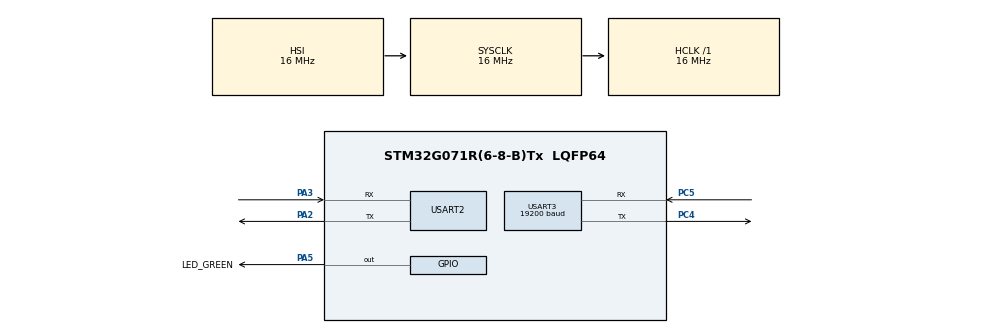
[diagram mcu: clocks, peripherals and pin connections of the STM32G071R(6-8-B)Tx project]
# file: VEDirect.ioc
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Dma.Request0=USART3_RX
Dma.USART3_RX.0.Direction=DMA_PERIPH_TO_MEMORY
Dma.USART3_RX.0.EventEnable=DISABLE
Dma.USART3_RX.0.Instance=DMA1_Channel1
Dma.USART3_RX.0.MemDataAlignment=DMA_MDATAALIGN_BYTE
Dma.USART3_RX.0.MemInc=DMA_MINC_ENABLE
Dma.USART3_RX.0.Mode=DMA_NORMAL
Dma.USART3_RX.0.PeriphDataAlignment=DMA_PDATAALIGN_BYTE
Dma.USART3_RX.0.PeriphInc=DMA_PINC_DISABLE
Dma.USART3_RX.0.Polarity=HAL_DMAMUX_REQ_GEN_RISING
Dma.USART3_RX.0.Priority=DMA_PRIORITY_MEDIUM
Dma.USART3_RX.0.RequestNumber=1
Dma.USART3_RX.0.SignalID=NONE
Dma.USART3_RX.0.SyncEnable=DISABLE
Dma.USART3_RX.0.SyncPolarity=HAL_DMAMUX_SYNC_NO_EVENT
Dma.USART3_RX.0.SyncRequestNumber=1
Dma.USART3_RX.0.SyncSignalID=NONE
Mcu.Family=STM32G0
Mcu.Name=STM32G071R(6-8-B)Tx
Mcu.Package=LQFP64
NVIC.DMA1_Channel1_IRQn=true\:2\:0\:true\:false\:true\:false\:true\:true
NVIC.USART3_4_LPUART1_IRQn=true\:2\:0\:true\:false\:true\:true\:true\:true
PA13.GPIO_Label=TMS
PA13.Mode=Serial_Wire
PA13.Signal=SYS_SWDIO
PA14-BOOT0.GPIO_Label=TCK
PA14-BOOT0.Mode=Serial_Wire
PA14-BOOT0.Signal=SYS_SWCLK
PA2.Mode=Asynchronous
PA2.Signal=USART2_TX
PA3.Mode=Asynchronous
PA3.Signal=USART2_RX
PA5.GPIO_Label=LED_GREEN
PA5.GPIO_Speed=GPIO_SPEED_FREQ_HIGH
PA5.Signal=GPIO_Output
PC13.Mode=SYS_WakeUp1
PC13.Signal=SYS_WKUP2
PC14-OSC32_IN\ (PC14).Mode=LSE-External-Oscillator
PC14-OSC32_IN\ (PC14).Signal=RCC_OSC32_IN
PC15-OSC32_OUT\ (PC15).Mode=LSE-External-Oscillator
PC15-OSC32_OUT\ (PC15).Signal=RCC_OSC32_OUT
PC4.Mode=Asynchronous
PC4.Signal=USART3_TX
PC5.Mode=Asynchronous
PC5.Signal=USART3_RX
PF0-OSC_IN\ (PF0).GPIO_Label=MCO
PF0-OSC_IN\ (PF0).Mode=HSE-External-Clock-Source
PF0-OSC_IN\ (PF0).Signal=RCC_OSC_IN
ProjectManager.HeapSize=0x200
ProjectManager.StackSize=0x400
ProjectManager.TargetToolchain=STM32CubeIDE
RCC.AHBFreq_Value=16000000
RCC.CortexFreq_Value=16000000
RCC.EXTERNAL_CLOCK_VALUE=12288000
RCC.HCLKFreq_Value=16000000
RCC.HSE_VALUE=8000000
RCC.HSI_VALUE=16000000
RCC.PLLQ=RCC_PLLQ_DIV4
RCC.SYSCLKFreq_VALUE=16000000
RCC.VCOOutputFreq_Value=128000000
TIM1.Prescaler=15
USART2.VirtualMode-Asynchronous=VM_ASYNC
USART3.BaudRate=19200
USART3.VirtualMode-Asynchronous=VM_ASYNC
VP_TIM1_VS_ClockSourceINT.Mode=Internal
board=NUCLEO-G071RB

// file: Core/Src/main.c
/* USER CODE BEGIN Header */
/**
  ******************************************************************************
  * @file           : main.c
  * @brief          : Main program body
  ******************************************************************************
  * @attention
  *
  * Copyright (c) 2024 STMicroelectronics.
  * All rights reserved.
  *
  * This software is licensed under terms that can be found in the LICENSE file
  * in the root directory of this software component.
  * If no LICENSE file comes with this software, it is provided AS-IS.
  *
  ******************************************************************************
  */
/* USER CODE END Header */
#include "main.h"
#include "dma.h"
#include "tim.h"
#include "usart.h"
#include "gpio.h"

/* USER CODE BEGIN Includes */
#include <uart_handler.h>
#include <stdio.h>
#include <ve_direct.h>
#include "SEGGER_RTT.h"
/* USER CODE END Includes */

/* USER CODE BEGIN PV */
uint8_t rx_buffer_1[BUFFER_SIZE];
uint8_t rx_buffer_2[BUFFER_SIZE];
char test_buffer[BUFFER_SIZE] = "\r\nPID\t0xA241\r\nFW\t0126\r\nSER#\tHQ2311PZ2NR\r\nMODE\t2\r\nCS\t9\r\nAC_OUT_V\t22998\r\nAC_OUT_I\t0\r\nAC_OUT_S\t8\r\nV\t11877\r\nAR\t0\r\nWARN\t0\r\nOR\t0x00000000\r\nChecksum\t\xF3";
extern ve_direct_data_t g_ve_direct_channels[VE_DIRECT_CH_MAX];
volatile uint8_t checksum;

ProtocolRxBuff protocol_rx_buff = {
    .p_rx_buff_user = rx_buffer_1,
    .p_rx_buff_reception = rx_buffer_2,
    .new_data_sz = 0
};

VEDIRECT_RX_State rx_state = VEDIRECT_RX_State_IDLE;
ve_direct_data_state_t data_state = CHECKSUM_FAIL;
/* USER CODE END PV */

void SystemClock_Config(void);
/* USER CODE BEGIN PFP */
uint8_t UART_Receive(void);
void process_frame(void);
void reset_frame_data(void);
/* USER CODE END PFP */

/* USER CODE BEGIN 0 */
extern UART_HandleTypeDef huart3;

#ifdef __GNUC__
/* With GCC/RAISONANCE, small printf (option LD Linker->Libraries->Small printf
   set to 'Yes') calls __io_putchar() */
#define PUTCHAR_PROTOTYPE int __io_putchar(int ch)
#else
#define PUTCHAR_PROTOTYPE int fputc(int ch, FILE *f)
#endif /* __GNUC__ */

/**
  * @brief  Retargets the C library printf function to the USART.
  * @param  None
  * @retval None
  */
PUTCHAR_PROTOTYPE
{

  SEGGER_RTT_printf(0, "%c", ch);

  return ch;
}
#include "tim.h"

/* USER CODE END 0 */

int main(void)
{

  /* USER CODE BEGIN 1 */
	checksum = 0;
	  uint32_t start_time, end_time, elapsed_time;
  /* USER CODE END 1 */

  /* MCU Configuration--------------------------------------------------------*/

  /* Reset of all peripherals, Initializes the Flash interface and the Systick. */
  HAL_Init();

  /* Configure the system clock */
  SystemClock_Config();

  /* Initialize all configured peripherals */
  MX_GPIO_Init();
  MX_DMA_Init();
  MX_USART3_UART_Init();
  MX_USART2_UART_Init();
  MX_TIM1_Init();
  /* USER CODE BEGIN 2 */
  __HAL_UART_CLEAR_FLAG(&huart3, UART_FLAG_IDLE);
  HAL_StatusTypeDef status = HAL_UARTEx_ReceiveToIdle_DMA(&huart3, protocol_rx_buff.p_rx_buff_reception, BUFFER_SIZE);
 // __HAL_DMA_DISABLE_IT(huart3.hdmarx, DMA_IT_HT);
  SEGGER_RTT_ConfigUpBuffer  (0,  NULL  ,  NULL  , 0,  SEGGER_RTT_MODE_NO_BLOCK_SKIP  );
  SEGGER_RTT_Init();
  HAL_TIM_Base_Start(&htim1);
  /* USER CODE END 2 */

  /* Infinite loop */
  /* USER CODE BEGIN WHILE */
  while (1)
  {
	  /*start_time = __HAL_TIM_GET_COUNTER(&htim1);
    parse_frame(test_buffer);
    parse_vedirect_data(&ve_data, &g_ve_direct_channels);
    end_time = __HAL_TIM_GET_COUNTER(&htim1);

    int a = 0;
    if (end_time >= start_time)
    {
        elapsed_time = end_time - start_time;
    }
    else
    {
        // Handle timer overflow if it occurs
        elapsed_time = (0xFFFF - start_time) + end_time;
    }

    a++;*/

	  if(vedirect_rx_get_state() == VEDIRECT_RX_State_DATA_READY){

		  //calculate checksum of the whole frame
      checksum = calculate_checksum(protocol_rx_buff.p_rx_buff_user, protocol_rx_buff.new_data_sz);

    if(checksum == 0){
      data_set_state(&g_ve_direct_channels, CHECKSUM_OK);

      parse_frame(protocol_rx_buff.p_rx_buff_user); //seperates frame into seperate fields and correspondind values

      // Map parsed fields to the structure
      parse_vedirect_data(&ve_data, &g_ve_direct_channels);
      }else
        data_set_state(&g_ve_direct_channels, CHECKSUM_FAIL);
    }

		  //TODO: ADD LOGGER

		  /*HAL_StatusTypeDef check = HAL_UARTEx_ReceiveToIdle_DMA(&huart3, protocol_rx_buff.p_rx_buff_reception, BUFFER_SIZE);

		  if (check != HAL_OK) Error_Handler();
		  __HAL_UART_CLEAR_FLAG(&huart3, UART_FLAG_IDLE);

		  vedirect_rx_set_state(VEDIRECT_RX_State_RECEIVING);
	  }

    /* USER CODE END WHILE */

  }
}

void SystemClock_Config(void)
{
  RCC_OscInitTypeDef RCC_OscInitStruct = {0};
  RCC_ClkInitTypeDef RCC_ClkInitStruct = {0};

  /** Configure the main internal regulator output voltage
  */
  HAL_PWREx_ControlVoltageScaling(PWR_REGULATOR_VOLTAGE_SCALE1);

  /** Initializes the RCC Oscillators according to the specified parameters
  * in the RCC_OscInitTypeDef structure.
  */
  RCC_OscInitStruct.OscillatorType = RCC_OSCILLATORTYPE_HSI;
  RCC_OscInitStruct.HSIState = RCC_HSI_ON;
  RCC_OscInitStruct.HSIDiv = RCC_HSI_DIV1;
  RCC_OscInitStruct.HSICalibrationValue = RCC_HSICALIBRATION_DEFAULT;
  RCC_OscInitStruct.PLL.PLLState = RCC_PLL_NONE;
  if (HAL_RCC_OscConfig(&RCC_OscInitStruct) != HAL_OK)
  {
    Error_Handler();
  }

  /** Initializes the CPU, AHB and APB buses clocks
  */
  RCC_ClkInitStruct.ClockType = RCC_CLOCKTYPE_HCLK|RCC_CLOCKTYPE_SYSCLK
                              |RCC_CLOCKTYPE_PCLK1;
  RCC_ClkInitStruct.SYSCLKSource = RCC_SYSCLKSOURCE_HSI;
  RCC_ClkInitStruct.AHBCLKDivider = RCC_SYSCLK_DIV1;
  RCC_ClkInitStruct.APB1CLKDivider = RCC_HCLK_DIV1;

  if (HAL_RCC_ClockConfig(&RCC_ClkInitStruct, FLASH_LATENCY_0) != HAL_OK)
  {
    Error_Handler();
  }
}

void Error_Handler(void)
{
  __disable_irq();
  while (1)
  {
  }
}
